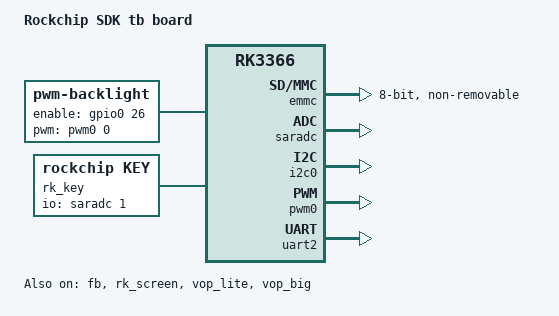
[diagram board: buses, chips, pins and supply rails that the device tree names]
/*
 * Copyright (c) 2016 Fuzhou Rockchip Electronics Co., Ltd
 *
 * This file is dual-licensed: you can use it either under the terms
 * of the GPL or the X11 license, at your option. Note that this dual
 * licensing only applies to this file, and not this project as a
 * whole.
 *
 *  a) This file is free software; you can redistribute it and/or
 *     modify it under the terms of the GNU General Public License as
 *     published by the Free Software Foundation; either version 2 of the
 *     License, or (at your option) any later version.
 *
 *     This file is distributed in the hope that it will be useful,
 *     but WITHOUT ANY WARRANTY; without even the implied warranty of
 *     MERCHANTABILITY or FITNESS FOR A PARTICULAR PURPOSE.  See the
 *     GNU General Public License for more details.
 *
 * Or, alternatively,
 *
 *  b) Permission is hereby granted, free of charge, to any person
 *     obtaining a copy of this software and associated documentation
 *     files (the "Software"), to deal in the Software without
 *     restriction, including without limitation the rights to use,
 *     copy, modify, merge, publish, distribute, sublicense, and/or
 *     sell copies of the Software, and to permit persons to whom the
 *     Software is furnished to do so, subject to the following
 *     conditions:
 *
 *     The above copyright notice and this permission notice shall be
 *     included in all copies or substantial portions of the Software.
 *
 *     THE SOFTWARE IS PROVIDED "AS IS", WITHOUT WARRANTY OF ANY KIND,
 *     EXPRESS OR IMPLIED, INCLUDING BUT NOT LIMITED TO THE WARRANTIES
 *     OF MERCHANTABILITY, FITNESS FOR A PARTICULAR PURPOSE AND
 *     NONINFRINGEMENT. IN NO EVENT SHALL THE AUTHORS OR COPYRIGHT
 *     HOLDERS BE LIABLE FOR ANY CLAIM, DAMAGES OR OTHER LIABILITY,
 *     WHETHER IN AN ACTION OF CONTRACT, TORT OR OTHERWISE, ARISING
 *     FROM, OUT OF OR IN CONNECTION WITH THE SOFTWARE OR THE USE OR
 *     OTHER DEALINGS IN THE SOFTWARE.
 */

/dts-v1/;
#include <dt-bindings/pwm/pwm.h>
#include "rk3366.dtsi"

/ {
	model = "Rockchip SDK tb board";
	compatible = "rockchip,tb", "rockchip,rk3366";

	chosen {
		bootargs = "console=uart,mmio32,0xff690000";
	};

	ion {
		compatible = "rockchip,ion";
		#address-cells = <1>;
		#size-cells = <0>;

		cma-heap {
			reg = <0x00000000 0x02000000>;
		};

		system-heap {
		};
	};

	backlight: backlight {
		compatible = "pwm-backlight";
		pwms = <&pwm0 0 25000 PWM_POLARITY_INVERTED>;
		brightness-levels = <
			  0   1   2   3   4   5   6   7
			  8   9  10  11  12  13  14  15
			 16  17  18  19  20  21  22  23
			 24  25  26  27  28  29  30  31
			 32  33  34  35  36  37  38  39
			 40  41  42  43  44  45  46  47
			 48  49  50  51  52  53  54  55
			 56  57  58  59  60  61  62  63
			 64  65  66  67  68  69  70  71
			 72  73  74  75  76  77  78  79
			 80  81  82  83  84  85  86  87
			 88  89  90  91  92  93  94  95
			 96  97  98  99 100 101 102 103
			104 105 106 107 108 109 110 111
			112 113 114 115 116 117 118 119
			120 121 122 123 124 125 126 127
			128 129 130 131 132 133 134 135
			136 137 138 139 140 141 142 143
			144 145 146 147 148 149 150 151
			152 153 154 155 156 157 158 159
			160 161 162 163 164 165 166 167
			168 169 170 171 172 173 174 175
			176 177 178 179 180 181 182 183
			184 185 186 187 188 189 190 191
			192 193 194 195 196 197 198 199
			200 201 202 203 204 205 206 207
			208 209 210 211 212 213 214 215
			216 217 218 219 220 221 222 223
			224 225 226 227 228 229 230 231
			232 233 234 235 236 237 238 239
			240 241 242 243 244 245 246 247
			248 249 250 251 252 253 254 255>;
		default-brightness-level = <200>;
		enable-gpios = <&gpio0 26 GPIO_ACTIVE_HIGH>;
	};

	rk_key: rockchip-key {
		compatible = "rockchip,key";
		status = "okay";

		io-channels = <&saradc 1>;

		vol-up-key {
			linux,code = <115>;
			label = "volume up";
			rockchip,adc_value = <1>;
		};

		vol-down-key {
			linux,code = <114>;
			label = "volume down";
			rockchip,adc_value = <170>;
		};

		power-key {
			gpios = <&gpio0 2 GPIO_ACTIVE_LOW>;
			linux,code = <116>;
			label = "power";
			gpio-key,wakeup;
		};

		menu-key {
			linux,code = <59>;
			label = "menu";
			rockchip,adc_value = <355>;
		};

		home-key {
			linux,code = <102>;
			label = "home";
			rockchip,adc_value = <746>;
		};

		back-key {
			linux,code = <158>;
			label = "back";
			rockchip,adc_value = <560>;
		};

		camera-key {
			linux,code = <212>;
			label = "camera";
			rockchip,adc_value = <450>;
		};
	};
};

&emmc {
	clock-frequency = <100000000>;
	clock-freq-min-max = <400000 100000000>;
	supports-emmc;
	bus-width = <8>;
	cap-mmc-highspeed;
	disable-wp;
	non-removable;
	num-slots = <1>;
	pinctrl-names = "default";
	pinctrl-0 = <&emmc_clk &emmc_cmd &emmc_pwr &emmc_bus8>;
	status = "okay";
};

&sdmmc {
	clock-frequency = <37500000>;
	clock-freq-min-max = <400000 37500000>;
	supports-sd;
	bus-width = <4>;
	cap-mmc-highspeed;
	cap-sd-highspeed;
	card-detect-delay = <200>;
	disable-wp;
	num-slots = <1>;
	pinctrl-names = "default";
	pinctrl-0 = <&sdmmc_clk &sdmmc_cmd &sdmmc_cd &sdmmc_bus4>;
	status = "disabled";
};

&sdio {
	clock-frequency = <50000000>;
	clock-freq-min-max = <200000 50000000>;
	supports-sdio;
	bus-width = <4>;
	disable-wp;
	non-removable;
	num-slots = <1>;
	pinctrl-names = "default";
	pinctrl-0 = <&sdio_bus4 &sdio_cmd &sdio_clk>;
	status = "disabled";
};

&saradc {
	status = "okay";
};

&i2c0 {
	status = "okay";
};

&pwm0 {
	status = "okay";
};

&uart2 {
	status = "okay";
};

&fb {
	status = "okay";
	rockchip,disp-mode = <DUAL>;
	rockchip,uboot-logo-on = <0>;
};

&rk_screen {
	status = "okay";
	#include <dt-bindings/display/screen-timing/lcd-b101ew05.dtsi>
};

&lvds {
	pinctrl-names = "lcdc", "sleep";
	pinctrl-0 = <&lcdc_lcdc>;
	pinctrl-1 = <&lcdc_gpio>;
	status = "disabled";
};

&vop_lite {
	status = "okay";
	rockchip,prop = <EXTEND>;
	rockchip,mirror = <NO_MIRROR>;
	rockchip,cabc_mode = <0>;
	rockchip,fb-win-map = <FB_DEFAULT_ORDER>;
};

&vopl_mmu {
	status = "okay";
};

&vop_big {
	status = "okay";
	rockchip,prop = <PRMRY>;
	backlight = <&backlight>;
	rockchip,mirror = <NO_MIRROR>;
	rockchip,cabc_mode = <0>;
	rockchip,fb-win-map = <FB_DEFAULT_ORDER>;
	power_ctr: power_ctr {
		rockchip,debug = <0>;
		lcd_en: lcd-en {
			rockchip,power_type = <GPIO>;
			gpios = <&gpio0 12 GPIO_ACTIVE_HIGH>; /* GPIO_B4 = 12 */
			rockchip,delay = <10>;
		};

		lcd_cs: lcd-cs {
			rockchip,power_type = <GPIO>;
			gpios = <&gpio0 24 GPIO_ACTIVE_HIGH>; /* GPIO_D0 = 24 */
			rockchip,delay = <10>;
		};

		/* lcd_rst: lcd-rst {
		 *	rockchip,power_type = <GPIO>;
		 *	gpios = <&gpio3 GPIO_D6 GPIO_ACTIVE_HIGH>;
		 *	rockchip,delay = <5>;
		 * };
		 */
	};
};

&vopb_mmu {
	status = "okay";
};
